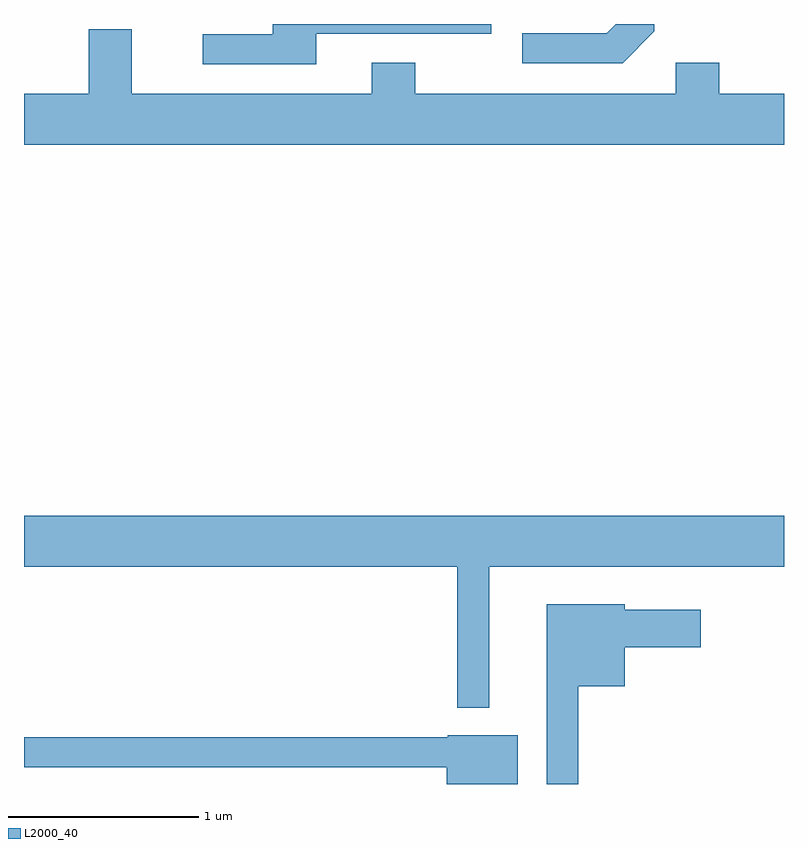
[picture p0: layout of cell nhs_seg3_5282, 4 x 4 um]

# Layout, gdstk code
import gdstk
lib = gdstk.Library(unit=1e-6, precision=1e-09)
def P(c, l, *ps):  # polygons
    for p in ps: c.add(gdstk.Polygon(p, *l))
L2000_40 = (2000, 40)

nhs_seg3_5282 = lib.new_cell('nhs_seg3_5282')
P(nhs_seg3_5282, L2000_40, [(342.929,1219.854),(342.929,1219.892),(342.726,1219.892),(342.679,1219.844),(342.233,1219.844),(342.233,1219.686),(342.762,1219.686)],
  [(341.149,1219.841),(342.069,1219.841),(342.069,1219.892),(340.921,1219.892),(340.921,1219.839),(340.553,1219.839),(340.553,1219.681),(341.149,1219.681)],
  [(343.611,1219.524),(343.269,1219.524),(343.269,1219.689),(343.041,1219.689),(343.041,1219.524),(341.669,1219.524),(341.669,1219.689),(341.441,1219.689),(341.441,1219.524),(340.179,1219.524),(340.179,1219.864),(339.951,1219.864),(339.951,1219.524),(339.611,1219.524),(339.611,1219.256),(343.611,1219.256)],
  [(342.059,1217.036),(343.611,1217.036),(343.611,1217.304),(339.611,1217.304),(339.611,1217.036),(341.891,1217.036),(341.891,1216.293),(342.059,1216.293)],
  [(342.529,1216.406),(342.774,1216.406),(342.774,1216.611),(343.174,1216.611),(343.174,1216.809),(342.774,1216.809),(342.774,1216.839),(342.361,1216.839),(342.361,1215.892),(342.529,1215.892)],
  [(342.209,1216.149),(341.84,1216.149),(341.84,1216.139),(339.611,1216.139),(339.611,1215.981),(341.836,1215.981),(341.836,1215.892),(342.209,1215.892)])

lib.write_gds('nhs_seg3_5282.gds')
